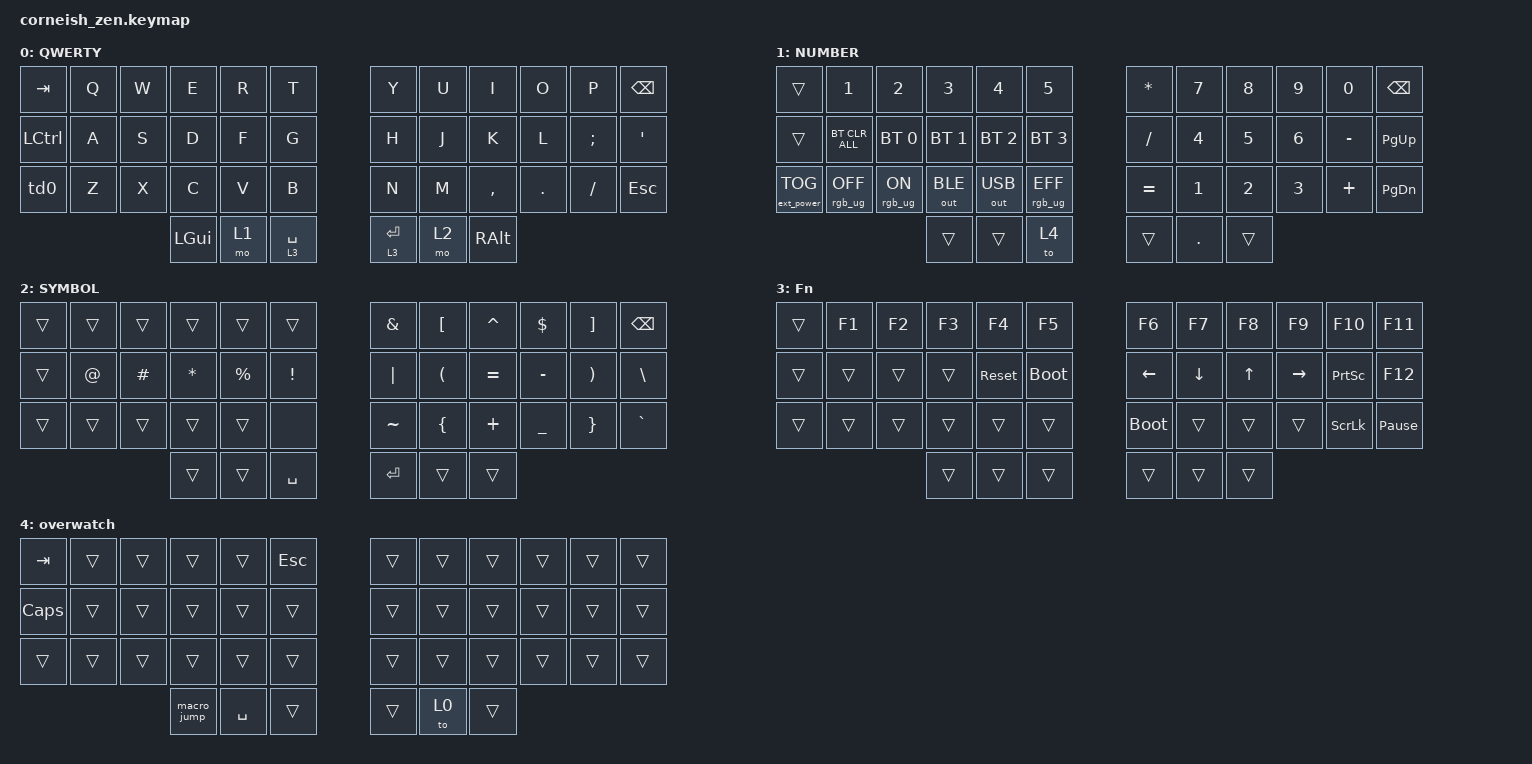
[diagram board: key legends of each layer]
/*
 * Copyright (c) 2020 The ZMK Contributors
 *
 * SPDX-License-Identifier: MIT
 */

#include <behaviors.dtsi>
#include <dt-bindings/zmk/bt.h>
#include <dt-bindings/zmk/ext_power.h>
#include <dt-bindings/zmk/keys.h>
#include <dt-bindings/zmk/outputs.h>
#include <dt-bindings/zmk/rgb.h>

/ {
    chosen {
        zmk,matrix_transform = &default_transform;

        // zmk,matrix_transform = &five_column_transform;
    };
};

/ {
    behaviors {
        td0: td0 {
            compatible = "zmk,behavior-tap-dance";
            label = "TD0";
            #binding-cells = <0>;
            bindings = <&kp LEFT_SHIFT>, <&kp CAPS>;
        };
    };

    macros {
        macro_jump: macro_jump {
            compatible = "zmk,behavior-macro";
            #binding-cells = <0>;
            bindings =
                <&macro_tap_time 850>,
                <&kp LEFT_ALT>,
                <&macro_tap_time 30>,
                <&kp SPACE>;

            label = "MACRO_JUMP";
        };
    };

    keymap {
        compatible = "zmk,keymap";

        default_layer {
            display-name = "QWERTY";

            // --------------------------------------------------------------------------------
            // |  TAB |  Q  |  W  |  E  |  R  |  T  |   |  Y  |  U   |  I  |  O  |  P  | BKSP |
            // | CTRL |  A  |  S  |  D  |  F  |  G  |   |  H  |  J   |  K  |  L  |  ;  |  '   | 
            // | SHFT |  Z  |  X  |  C  |  V  |  B  |   |  N  |  M   |  ,  |  .  |  /  | ESC  |
            //                    | GUI | LWR | SPC |   | ENT | RSE  | ALT |

            bindings = <
&kp TAB    &kp Q  &kp W  &kp E     &kp R  &kp T          &kp Y        &kp U  &kp I      &kp O    &kp P     &kp BSPC
&kp LCTRL  &kp A  &kp S  &kp D     &kp F  &kp G          &kp H        &kp J  &kp K      &kp L    &kp SEMI  &kp SQT
&td0       &kp Z  &kp X  &kp C     &kp V  &kp B          &kp N        &kp M  &kp COMMA  &kp DOT  &kp FSLH  &kp ESC
                         &kp LGUI  &mo 1  &lt 3 SPACE    &lt 3 ENTER  &mo 2  &kp RALT
            >;
        };

        lower_layer {
            display-name = "NUMBER";

            // -----------------------------------------------------------------------------------------
            // |  TAB |  1  |  2  |  3  |  4  |  5  |   |  6  |  7  |  8  |  9  |  0  | BKSP |
            // | BTCLR| BT1 | BT2 | BT3 | BT4 | BT5 |   | LFT | DWN |  UP | RGT |     |      |
            // | SHFT |     |     |     |     |     |   |     |     |     |     |     |      |
            //                    | GUI |     | SPC |   | ENT |     | ALT |

            bindings = <
&trans             &kp N1           &kp N2          &kp N3        &kp N4        &kp N5             &kp ASTERISK  &kp N7      &kp N8  &kp N9  &kp N0     &kp BSPC
&trans             &bt BT_CLR_ALL   &bt BT_SEL 0    &bt BT_SEL 1  &bt BT_SEL 2  &bt BT_SEL 3       &kp SLASH     &kp N4      &kp N5  &kp N6  &kp MINUS  &kp PG_UP
&ext_power EP_TOG  &rgb_ug RGB_OFF  &rgb_ug RGB_ON  &out OUT_BLE  &out OUT_USB  &rgb_ug RGB_EFF    &kp EQUAL     &kp N1      &kp N2  &kp N3  &kp PLUS   &kp PG_DN
                                                    &trans        &trans        &to 4              &trans        &kp PERIOD  &trans
            >;
        };

        raise_layer {
            display-name = "SYMBOL";

            // -----------------------------------------------------------------------------------------
            // |  TAB |  !  |  @  |  #  |  $  |  %  |   |  ^  |  &  |  *  |  (  |  )  | BKSP |
            // | CTRL |     |     |     |     |     |   |  -  |  =  |  [  |  ]  |  \  |  `   |
            // | SHFT |     |     |     |     |     |   |  _  |  +  |  {  |  }  | "|" |  ~   |
            //                    | GUI |     | SPC |   | ENT |     | ALT |

            bindings = <
&trans  &trans       &trans    &trans        &trans       &trans             &kp AMPERSAND  &kp LBKT              &kp CARET  &kp DOLLAR      &kp RIGHT_BRACKET      &kp BSPC
&trans  &kp AT_SIGN  &kp HASH  &kp ASTERISK  &kp PERCENT  &kp EXCLAMATION    &kp PIPE       &kp LEFT_PARENTHESIS  &kp EQUAL  &kp MINUS       &kp RIGHT_PARENTHESIS  &kp BACKSLASH
&trans  &trans       &trans    &trans        &trans       &none              &kp TILDE      &kp LEFT_BRACE        &kp PLUS   &kp UNDERSCORE  &kp RIGHT_BRACE        &kp GRAVE
                               &trans        &trans       &kp SPACE          &kp RET        &trans                &trans
            >;
        };

        layer_3 {
            display-name = "Fn";
            bindings = <
&trans  &kp F1  &kp F2  &kp F3  &kp F4      &kp F5         &kp F6       &kp F7    &kp F8  &kp F9     &kp F10          &kp F11
&trans  &trans  &trans  &trans  &sys_reset  &bootloader    &kp LEFT     &kp DOWN  &kp UP  &kp RIGHT  &kp PRINTSCREEN  &kp F12
&trans  &trans  &trans  &trans  &trans      &trans         &bootloader  &trans    &trans  &trans     &kp SCROLLLOCK   &kp PAUSE_BREAK
                        &trans  &trans      &trans         &trans       &trans    &trans
            >;
        };

        overwatch {
            bindings = <
&kp TAB   &trans  &trans  &trans       &trans     &kp ESC    &trans  &trans  &trans  &trans  &trans  &trans
&kp CAPS  &trans  &trans  &trans       &trans     &trans     &trans  &trans  &trans  &trans  &trans  &trans
&trans    &trans  &trans  &trans       &trans     &trans     &trans  &trans  &trans  &trans  &trans  &trans
                          &macro_jump  &kp SPACE  &trans     &trans  &to 0   &trans
            >;
        };
    };
};
